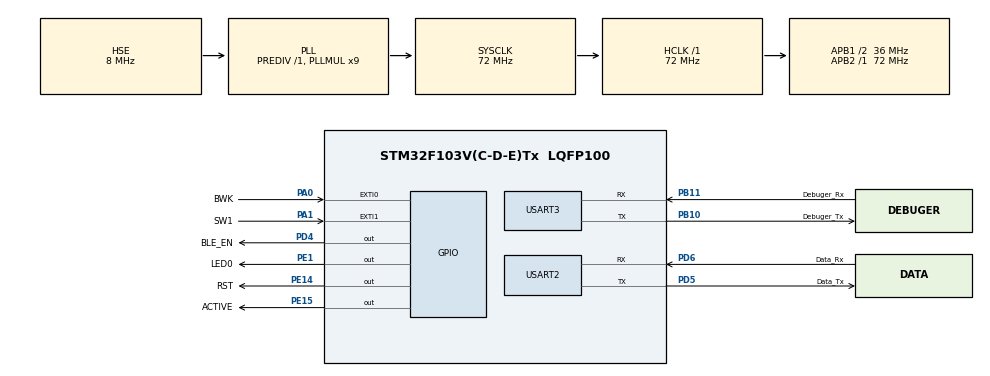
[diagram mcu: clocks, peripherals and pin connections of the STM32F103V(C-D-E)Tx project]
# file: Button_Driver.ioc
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Mcu.Family=STM32F1
Mcu.Name=STM32F103V(C-D-E)Tx
Mcu.Package=LQFP100
NVIC.PriorityGroup=NVIC_PRIORITYGROUP_4
NVIC.TIM3_IRQn=true\:0\:0\:false\:false\:true\:true\:true
OSC_IN.Mode=HSE-External-Oscillator
OSC_IN.Signal=RCC_OSC_IN
OSC_OUT.Mode=HSE-External-Oscillator
OSC_OUT.Signal=RCC_OSC_OUT
PA0-WKUP.GPIO_Label=BWK
PA0-WKUP.Signal=GPXTI0
PA1.GPIO_Label=SW1
PA1.Signal=GPXTI1
PA13.Mode=Serial_Wire
PA13.Signal=SYS_JTMS-SWDIO
PA14.Mode=Serial_Wire
PA14.Signal=SYS_JTCK-SWCLK
PB10.GPIO_Label=Debuger_Tx
PB10.Mode=Asynchronous
PB10.Signal=USART3_TX
PB11.GPIO_Label=Debuger_Rx
PB11.Mode=Asynchronous
PB11.Signal=USART3_RX
PC14-OSC32_IN.Mode=LSE-External-Oscillator
PC14-OSC32_IN.Signal=RCC_OSC32_IN
PC15-OSC32_OUT.Mode=LSE-External-Oscillator
PC15-OSC32_OUT.Signal=RCC_OSC32_OUT
PD4.GPIO_Label=BLE_EN
PD4.Signal=GPIO_Output
PD5.GPIO_Label=Data_Tx
PD5.Mode=Asynchronous
PD5.Signal=USART2_TX
PD6.GPIO_Label=Data_Rx
PD6.Mode=Asynchronous
PD6.Signal=USART2_RX
PE1.GPIO_Label=LED0
PE1.GPIO_PuPd=GPIO_PULLUP
PE1.Signal=GPIO_Output
PE14.GPIO_Label=RST
PE14.Signal=GPIO_Output
PE15.GPIO_Label=ACTIVE
PE15.Signal=GPIO_Output
ProjectManager.HeapSize=0x200
ProjectManager.StackSize=0x400
ProjectManager.TargetToolchain=MDK-ARM V5.32
RCC.AHBFreq_Value=72000000
RCC.APB1CLKDivider=RCC_HCLK_DIV2
RCC.APB1Freq_Value=36000000
RCC.APB1TimFreq_Value=72000000
RCC.APB2Freq_Value=72000000
RCC.APB2TimFreq_Value=72000000
RCC.HCLKFreq_Value=72000000
RCC.PLLMUL=RCC_PLL_MUL9
RCC.PLLSourceVirtual=RCC_PLLSOURCE_HSE
RCC.SYSCLKFreq_VALUE=72000000
RCC.SYSCLKSource=RCC_SYSCLKSOURCE_PLLCLK
RCC.USBFreq_Value=72000000
TIM3.AutoReloadPreload=TIM_AUTORELOAD_PRELOAD_ENABLE
TIM3.Period=9999
TIM3.Prescaler=71
USART2.VirtualMode=VM_ASYNC
USART3.VirtualMode=VM_ASYNC
VP_TIM3_VS_ClockSourceINT.Mode=Internal
board=custom

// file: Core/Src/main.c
/* USER CODE BEGIN Header */
/**
  ******************************************************************************
  * @file           : main.c
  * @brief          : Main program body
  ******************************************************************************
  * @attention
  *
	*	CCE 20231207
	*	Button_Driver v1
	*
  ******************************************************************************
  */
/* USER CODE END Header */
#include "main.h"
#include "tim.h"
#include "usart.h"
#include "gpio.h"

/* USER CODE BEGIN PD */
#define	ReadA0	HAL_GPIO_ReadPin(GPIOA,GPIO_PIN_0)
#define	ReadA1	HAL_GPIO_ReadPin(GPIOA,GPIO_PIN_1)
/* USER CODE END PD */

void SystemClock_Config(void);

int main(void)
{

    /* MCU Configuration--------------------------------------------------------*/

    /* Reset of all peripherals, Initializes the Flash interface and the Systick. */
    HAL_Init();

    /* Configure the system clock */
    SystemClock_Config();

    /* Initialize all configured peripherals */
    MX_GPIO_Init();
    MX_TIM3_Init();
    MX_USART2_UART_Init();
    MX_USART3_UART_Init();
    /* USER CODE BEGIN 2 */
    bsp_Init();																								//外部設備(Board support package)初始化

    HAL_TIM_Base_Start_IT(&htim3);					//按鈕10ms掃描一次，timer3配置10ms中斷一次
    /* USER CODE END 2 */

    /* Infinite loop */
    while (1)
    {

    }
}

void SystemClock_Config(void)
{
    RCC_OscInitTypeDef RCC_OscInitStruct = {0};
    RCC_ClkInitTypeDef RCC_ClkInitStruct = {0};

    /** Initializes the RCC Oscillators according to the specified parameters
    * in the RCC_OscInitTypeDef structure.
    */
    RCC_OscInitStruct.OscillatorType = RCC_OSCILLATORTYPE_HSE;
    RCC_OscInitStruct.HSEState = RCC_HSE_ON;
    RCC_OscInitStruct.HSEPredivValue = RCC_HSE_PREDIV_DIV1;
    RCC_OscInitStruct.HSIState = RCC_HSI_ON;
    RCC_OscInitStruct.PLL.PLLState = RCC_PLL_ON;
    RCC_OscInitStruct.PLL.PLLSource = RCC_PLLSOURCE_HSE;
    RCC_OscInitStruct.PLL.PLLMUL = RCC_PLL_MUL9;
    if (HAL_RCC_OscConfig(&RCC_OscInitStruct) != HAL_OK)
    {
        Error_Handler();
    }
    /** Initializes the CPU, AHB and APB buses clocks
    */
    RCC_ClkInitStruct.ClockType = RCC_CLOCKTYPE_HCLK|RCC_CLOCKTYPE_SYSCLK
                                  |RCC_CLOCKTYPE_PCLK1|RCC_CLOCKTYPE_PCLK2;
    RCC_ClkInitStruct.SYSCLKSource = RCC_SYSCLKSOURCE_PLLCLK;
    RCC_ClkInitStruct.AHBCLKDivider = RCC_SYSCLK_DIV1;
    RCC_ClkInitStruct.APB1CLKDivider = RCC_HCLK_DIV2;
    RCC_ClkInitStruct.APB2CLKDivider = RCC_HCLK_DIV1;

    if (HAL_RCC_ClockConfig(&RCC_ClkInitStruct, FLASH_LATENCY_2) != HAL_OK)
    {
        Error_Handler();
    }
}

/* USER CODE BEGIN 4 */
uint8_t Read_KEY1_Level(void)
{
    if(ReadA0 == 1)
        return 1;
    else
        return 0;
}
uint8_t Read_KEY2_Level(void)
{
    if(ReadA1 == 1)
        return 1;
    else
        return 0;
}
/************************************************************
  * @brief   Button callback
  * @param   NULL
  * @return  NULL
  * @version v1.0
  * @note    NULL
  ***********************************************************/
void Btn1_Down_CallBack(void *btn)
{
    printf("Button1 single click!\r\n");
}

void Btn1_Double_CallBack(void *btn)
{
    printf("Button1 double click!\r\n");
}

void Btn1_Long_CallBack(void *btn)
{
    printf("Button1 long click!\r\n");
}

void Btn1_Continuos_CallBack(void *btn)
{
    printf("Button1 Continuos!\r\n");
}
void Btn1_ContinuosFree_CallBack(void *btn)
{
    printf("Button1 ContinuosFree!\r\n");
}

void Btn2_Down_CallBack(void *btn)
{
    printf("Button2 single click!\r\n");
}

void Btn2_Double_CallBack(void *btn)
{
    printf("Button2 double click!\r\n");
}

void Btn2_Long_CallBack(void *btn)
{
    printf("Button2 long click!\r\n");
}

void Btn2_Continuos_CallBack(void *btn)
{
    printf("Button2 Continuos!\r\n");
}
void Btn2_ContinuosFree_CallBack(void *btn)
{
    printf("Button2 ContinuosFree!\r\n");
}
/* USER CODE END 4 */

void Error_Handler(void)
{
    __disable_irq();
    while (1)
    {
    }
}
